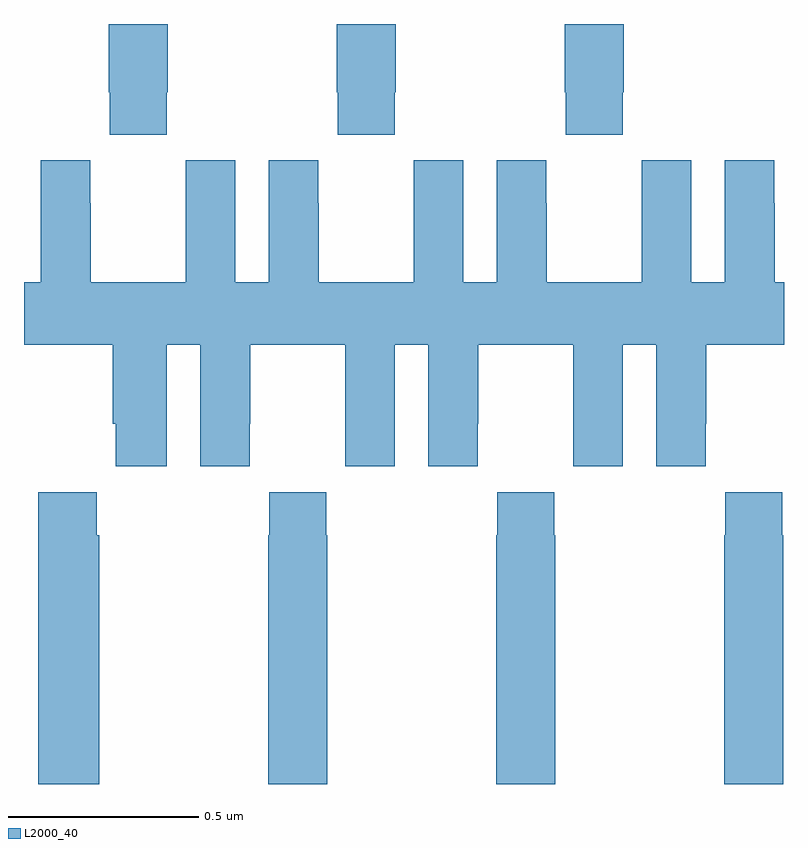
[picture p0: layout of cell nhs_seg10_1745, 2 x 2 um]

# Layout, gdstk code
import gdstk
lib = gdstk.Library(unit=1e-6, precision=1e-09)
def P(c, l, *ps):  # polygons
    for p in ps: c.add(gdstk.Polygon(p, *l))
L2000_40 = (2000, 40)

nhs_seg10_1745 = lib.new_cell('nhs_seg10_1745')
P(nhs_seg10_1745, L2000_40, [(132.375,1294.321),(132.378,1294.321),(132.378,1294.5),(132.223,1294.5),(132.223,1294.321),(132.225,1294.321),(132.225,1294.209),(132.375,1294.209)],
  [(132.975,1294.321),(132.978,1294.321),(132.978,1294.5),(132.823,1294.5),(132.823,1294.321),(132.825,1294.321),(132.825,1294.209),(132.975,1294.209)],
  [(133.575,1294.321),(133.578,1294.321),(133.578,1294.5),(133.423,1294.5),(133.423,1294.321),(133.425,1294.321),(133.425,1294.209),(133.575,1294.209)],
  [(133.844,1294.141),(133.844,1293.82),(133.756,1293.82),(133.756,1294.141),(133.626,1294.141),(133.626,1294.028),(133.625,1294.028),(133.625,1293.82),(133.375,1293.82),(133.375,1294.028),(133.374,1294.028),(133.374,1294.141),(133.244,1294.141),(133.244,1293.82),(133.156,1293.82),(133.156,1294.141),(133.026,1294.141),(133.026,1294.028),(133.025,1294.028),(133.025,1293.82),(132.775,1293.82),(132.775,1294.028),(132.774,1294.028),(132.774,1294.141),(132.644,1294.141),(132.644,1293.82),(132.556,1293.82),(132.556,1294.141),(132.426,1294.141),(132.426,1294.028),(132.425,1294.028),(132.425,1293.82),(132.175,1293.82),(132.175,1294.028),(132.174,1294.028),(132.174,1294.141),(132.044,1294.141),(132.044,1293.82),(132,1293.82),(132,1293.656),(132.233,1293.656),(132.233,1293.448),(132.242,1293.448),(132.242,1293.336),(132.376,1293.336),(132.376,1293.656),(132.464,1293.656),(132.464,1293.336),(132.594,1293.336),(132.594,1293.448),(132.595,1293.448),(132.595,1293.656),(132.845,1293.656),(132.845,1293.448),(132.846,1293.448),(132.846,1293.336),(132.976,1293.336),(132.976,1293.656),(133.064,1293.656),(133.064,1293.336),(133.194,1293.336),(133.194,1293.448),(133.195,1293.448),(133.195,1293.656),(133.445,1293.656),(133.445,1293.448),(133.446,1293.448),(133.446,1293.336),(133.576,1293.336),(133.576,1293.656),(133.664,1293.656),(133.664,1293.336),(133.794,1293.336),(133.794,1293.448),(133.795,1293.448),(133.795,1293.656),(134,1293.656),(134,1293.82),(133.975,1293.82),(133.975,1294.028),(133.974,1294.028),(133.974,1294.141)],
  [(133.998,1293.155),(133.995,1293.155),(133.995,1293.268),(133.845,1293.268),(133.845,1293.155),(133.843,1293.155),(133.843,1292.5),(133.998,1292.5)],
  [(133.398,1293.155),(133.395,1293.155),(133.395,1293.268),(133.245,1293.268),(133.245,1293.155),(133.243,1293.155),(133.243,1292.5),(133.398,1292.5)],
  [(132.198,1293.155),(132.191,1293.155),(132.191,1293.268),(132.038,1293.268),(132.038,1292.5),(132.198,1292.5)],
  [(132.798,1293.155),(132.795,1293.155),(132.795,1293.268),(132.645,1293.268),(132.645,1293.155),(132.643,1293.155),(132.643,1292.5),(132.798,1292.5)])

lib.write_gds('nhs_seg10_1745.gds')
